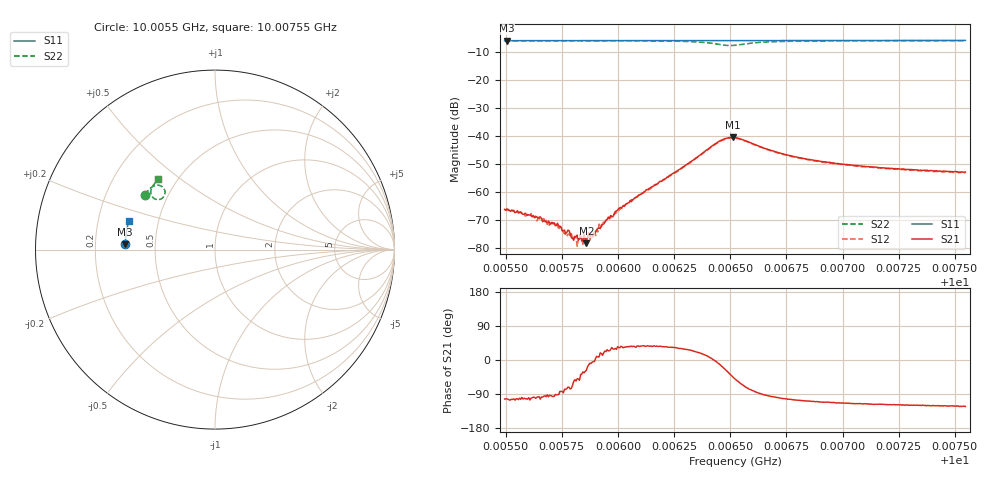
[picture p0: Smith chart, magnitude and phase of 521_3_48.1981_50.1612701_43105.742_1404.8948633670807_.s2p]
#  HZ  S  RI  R  50.00
! Rohde & Schwarz Vector Network Analyzer
! Rohde-Schwarz,ZNB20-2Port,1311601062101988,3.16
! Created: UTC 3/20/2024, 11:59:23 AM
! freq[Hz]  re:S11  im:S11  re:S21  im:S21  re:S12  im:S12  re:S22  im:S22
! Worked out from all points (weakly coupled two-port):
!   401 points, 10.0055 GHz to 10.00755 GHz, reference 50 ohm
!   highest |S21| = -40.52 dB at 10.00651 GHz (marker M1); lowest = -78.2 dB at 10.00586 GHz (marker M2)
!   lowest |S11| = -6.0 dB at 10.00551 GHz (marker M3), VSWR 3.01, Z = 16.6 + j1.31 ohm
!   |S11| at or under -10 dB: nowhere
!   |S22| runs from -7.7 to -6.0 dB; largest |S21 - S12| = 0.0006
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1.0005495e10  -0.5005 0.0288  -0.000111 -0.00048  -0.000115 -0.000472  -0.3909 0.306
1.0005506e10  -0.5002 0.0295  -0.000111 -0.00049  -0.000121 -0.000462  -0.3904 0.3067
1.0005623e10  -0.5001 0.0372  -5.21e-05 -0.000376  -3.71e-05 -0.00038  -0.3851 0.3138
1.0005649e10  -0.5 0.0389  -4.42e-05 -0.000353  -5.79e-05 -0.000329  -0.384 0.3152
1.0005716e10  -0.4997 0.0433  -2.77e-05 -0.000281  2.6e-05 -0.000254  -0.3809 0.3194
1.0005767e10  -0.4995 0.0465  3.81e-05 -0.000178  6.62e-05 -0.000163  -0.3783 0.3224
1.0005803e10  -0.4994 0.0488  7.67e-05 -0.000115  0.000101 -0.000119  -0.3763 0.3246
1.0005808e10  -0.4993 0.0491  0.0001 -0.000128  8.27e-05 -0.000136  -0.3762 0.325
1.0005839e10  -0.4993 0.0512  0.000107 -8.05e-05  0.000142 -7.83e-05  -0.3745 0.3269
1.0005854e10  -0.4991 0.0521  0.00013 -7.43e-05  0.000125 -5.07e-05  -0.3736 0.3279
1.0005859e10  -0.4991 0.0525  0.000109 -5.58e-05  0.000145 -3.32e-05  -0.3734 0.3282
1.000589e10  -0.4989 0.0545  0.000161 -1.16e-05  0.000187 1.87e-06  -0.3716 0.3303
1.0005926e10  -0.4988 0.0569  0.000232 7.14e-05  0.000232 0.000115  -0.3695 0.3326
1.0005998e10  -0.4983 0.0615  0.00039 0.000271  0.000395 0.000261  -0.3647 0.3371
1.0006183e10  -0.4971 0.0733  0.00122 0.000881  0.00113 0.000897  -0.3481 0.3505
1.0006444e10  -0.4942 0.0902  0.0077 -0.00103  0.00753 -0.000569  -0.2802 0.3309
1.0006511e10  -0.4935 0.0939  0.00674 -0.00658  0.00698 -0.00603  -0.2982 0.2836
1.0006521e10  -0.4935 0.0944  0.006 -0.00716  0.00628 -0.00667  -0.3058 0.2801
1.0006711e10  -0.492 0.1066  -0.000795 -0.00503  -0.000606 -0.00494  -0.358 0.3244
1.0006865e10  -0.4902 0.1165  -0.00123 -0.00354  -0.00104 -0.00353  -0.3514 0.3464
1.0007208e10  -0.4853 0.1382  -0.00123 -0.00236  -0.0011 -0.00234  -0.3328 0.3726
1.0007547e10  -0.4797 0.1593  -0.00123 -0.00192  -0.00108 -0.0019  -0.315 0.3908
